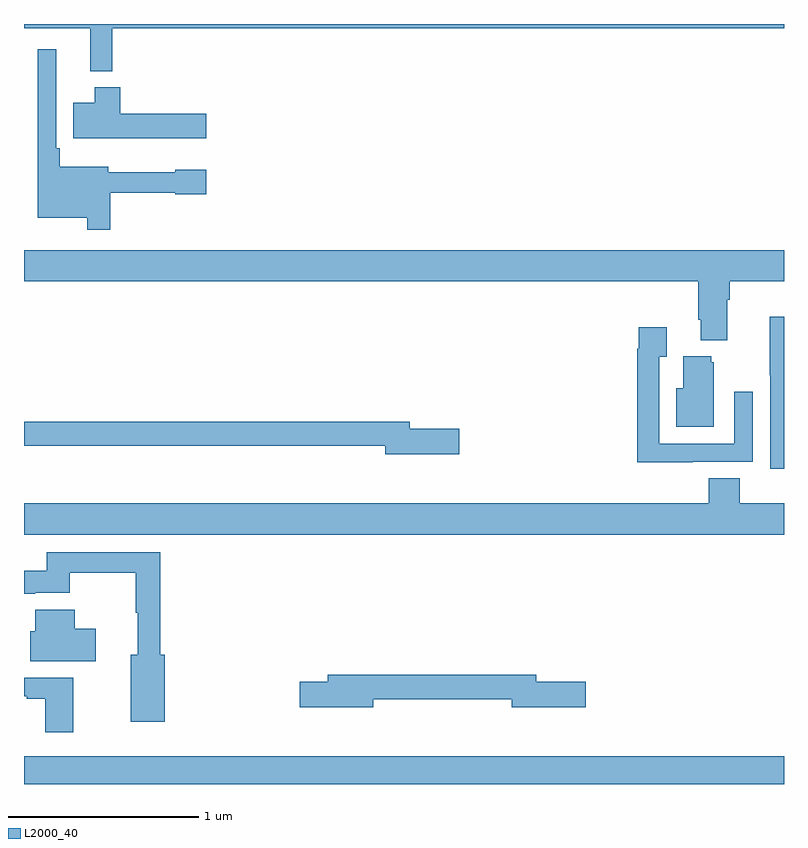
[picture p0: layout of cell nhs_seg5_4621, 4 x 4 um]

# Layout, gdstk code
import gdstk
lib = gdstk.Library(unit=1e-6, precision=1e-09)
def R(c, l, rs):  # rectangles x0, y0, x1, y1
    for r in rs: c.add(gdstk.rectangle(r[:2], r[2:], *l))
def P(c, l, *ps):  # polygons
    for p in ps: c.add(gdstk.Polygon(p, *l))
L2000_40 = (2000, 40)

nhs_seg5_4621 = lib.new_cell('nhs_seg5_4621')
R(nhs_seg5_4621, L2000_40, [(383,836.799,387,836.944)])
P(nhs_seg5_4621, L2000_40, [(383.465,840.776),(387,840.776),(387,840.799),(383,840.799),(383,840.776),(383.348,840.776),(383.348,840.551),(383.465,840.551)],
  [(383.455,839.91),(383.796,839.91),(383.796,839.902),(383.959,839.902),(383.959,840.031),(383.796,840.031),(383.796,840.019),(383.443,840.019),(383.443,840.049),(383.189,840.049),(383.189,840.145),(383.169,840.145),(383.169,840.667),(383.072,840.667),(383.072,839.78),(383.334,839.78),(383.334,839.715),(383.455,839.715)],
  [(383.959,840.327),(383.507,840.327),(383.507,840.466),(383.372,840.466),(383.372,840.385),(383.258,840.385),(383.258,840.197),(383.959,840.197)],
  [(386.701,839.348),(386.714,839.348),(386.714,839.444),(387,839.444),(387,839.608),(383,839.608),(383,839.444),(386.549,839.444),(386.549,839.242),(386.561,839.242),(386.561,839.135),(386.701,839.135)],
  [(387,839.258),(386.926,839.258),(386.926,838.951),(386.928,838.951),(386.928,838.458),(387,838.458)],
  [(386.519,838.494),(386.835,838.494),(386.835,838.864),(386.739,838.864),(386.739,838.59),(386.343,838.59),(386.343,839.047),(386.383,839.047),(386.383,839.203),(386.235,839.203),(386.235,839.09),(386.227,839.09),(386.227,838.493),(386.519,838.493)],
  [(386.629,839.019),(386.618,839.019),(386.618,839.05),(386.471,839.05),(386.471,838.882),(386.432,838.882),(386.432,838.679),(386.629,838.679)],
  [(385.291,838.67),(385.03,838.67),(385.03,838.706),(383,838.706),(383,838.578),(384.902,838.578),(384.902,838.535),(385.291,838.535)],
  [(387,838.276),(386.768,838.276),(386.768,838.409),(386.603,838.409),(386.603,838.276),(383,838.276),(383,838.112),(387,838.112)],
  [(383.741,837.478),(383.717,837.478),(383.717,838.02),(383.121,838.02),(383.121,837.922),(383,837.922),(383,837.8),(383.058,837.8),(383.058,837.806),(383.242,837.806),(383.242,837.912),(383.589,837.912),(383.589,837.701),(383.599,837.701),(383.599,837.478),(383.563,837.478),(383.563,837.126),(383.741,837.126)],
  [(383.377,837.615),(383.266,837.615),(383.266,837.716),(383.06,837.716),(383.06,837.603),(383.033,837.603),(383.033,837.446),(383.377,837.446)],
  [(384.838,837.246),(385.568,837.246),(385.568,837.203),(385.957,837.203),(385.957,837.338),(385.696,837.338),(385.696,837.374),(384.599,837.374),(384.599,837.338),(384.45,837.338),(384.45,837.203),(384.838,837.203)],
  [(383.259,837.357),(383,837.357),(383,837.261),(383.015,837.261),(383.015,837.249),(383.111,837.249),(383.111,837.072),(383.259,837.072)])

lib.write_gds('nhs_seg5_4621.gds')
